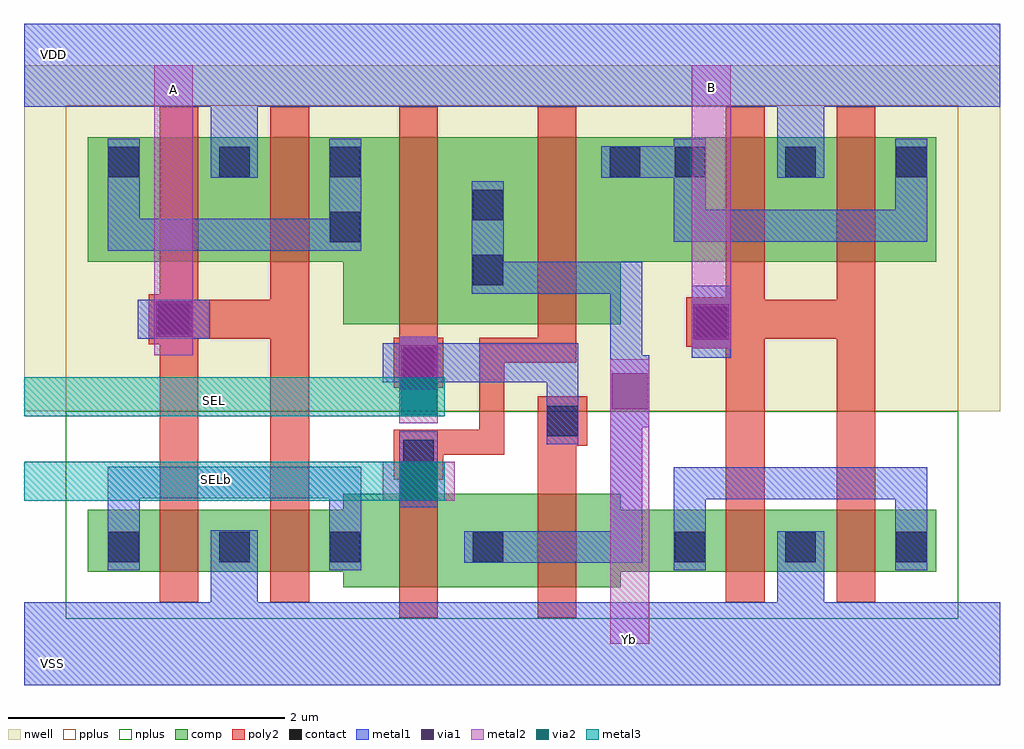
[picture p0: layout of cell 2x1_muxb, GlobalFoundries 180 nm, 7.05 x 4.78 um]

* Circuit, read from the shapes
.subckt 2x1_muxb A B SEL SELb VDD VSS Yb
XM1 VSS A n1 VSUBS nfet_03v3 w=0.45u l=0.28u m=2
XM2 Yb SELb n1 VSUBS nfet_03v3 w=0.675u l=0.28u
XM3 n2 SEL Yb VSUBS nfet_03v3 w=0.675u l=0.28u
XM4 VSS B n2 VSUBS nfet_03v3 w=0.45u l=0.28u m=2
XM5 VDD A n3 n4 pfet_03v3 w=0.9u l=0.28u m=2
XM6 Yb SEL n3 n4 pfet_03v3 w=1.35u l=0.28u
XM7 n5 SELb Yb n4 pfet_03v3 w=1.35u l=0.28u
XM8 VDD B n5 n4 pfet_03v3 w=0.9u l=0.28u m=2
.ends

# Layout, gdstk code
import gdstk
lib = gdstk.Library(unit=1e-6, precision=5e-09)
def R(c, l, rs):  # rectangles x0, y0, x1, y1
    for r in rs: c.add(gdstk.rectangle(r[:2], r[2:], *l))
def A(c, l, x, y, w, h, nx, ny, dx, dy):  # array of equal rectangles
    R(c, l, [(x+i*dx, y+j*dy, x+i*dx+w, y+j*dy+h) for i in range(nx) for j in range(ny)])
nwell = (21, 0)
comp = (22, 0)
poly2 = (30, 0)
pplus = (31, 0)
nplus = (32, 0)
contact = (33, 0)
metal1 = (34, 0)
via1 = (35, 0)
metal2 = (36, 0)
via2 = (38, 0)
metal3 = (42, 0)

c_2x1_muxb = lib.new_cell('2x1_muxb')
R(c_2x1_muxb, nwell, [(-5.465,-1.9,1.585,0.6)])
R(c_2x1_muxb, comp, [(-3.16,-3.17,-1.155,-2.495), (-5.005,-3.06,1.125,-2.61), (-3.16,-1.27,-1.155,0.08), (-5.005,-0.82,1.125,0.08)])
R(c_2x1_muxb, poly2, [(-2.755,-3.39,-2.475,-2.395), (-1.755,-3.39,-1.475,-2.15), (-4.485,-3.28,-4.205,0.3), (-3.685,-3.28,-3.405,0.3), (-0.395,-3.28,-0.115,0.3), (0.405,-3.28,0.685,0.3), (-2.795,-2.395,-2.435,-2.035), (-2.435,-2.215,-2.175,-2.035), (-2.175,-2.215,-1.995,-1.37), (-1.755,-2.15,-1.395,-1.79), (-2.795,-1.73,-2.435,-1.37), (-1.995,-1.55,-1.755,-1.37), (-1.755,-1.55,-1.475,0.3), (-0.68,-1.435,-0.32,-1.075), (-4.565,-1.415,-4.205,-1.055), (-4.205,-1.375,-3.685,-1.095), (-0.115,-1.375,0.405,-1.095), (-2.755,-1.37,-2.475,0.3)])
R(c_2x1_muxb, pplus, [(-5.165,-1.9,1.285,0.31)])
R(c_2x1_muxb, nplus, [(-5.165,-3.4,1.285,-1.9)])
A(c_2x1_muxb, contact, -4.855, -2.99, 0.22, 0.22, 3, 2, 0.8, 2.78)
A(c_2x1_muxb, contact, -0.765, -2.99, 0.22, 0.22, 3, 2, 0.8, 2.78)
R(c_2x1_muxb, contact, [(-2.225,-2.99,-2.005,-2.77), (-2.725,-2.325,-2.505,-2.105), (-1.685,-2.08,-1.465,-1.86), (-2.725,-1.66,-2.505,-1.44), (-0.61,-1.365,-0.39,-1.145), (-4.495,-1.345,-4.275,-1.125), (-2.225,-0.99,-2.005,-0.77), (-3.255,-0.68,-3.035,-0.46), (-2.225,-0.52,-2.005,-0.3), (-1.235,-0.21,-1.015,0.01)])
R(c_2x1_muxb, metal1, [(-5.465,-3.88,1.585,-3.28), (-4.115,-3.28,-3.775,-2.76), (-0.025,-3.28,0.315,-2.765), (-4.86,-3.05,-4.63,-2.53), (-3.26,-3.05,-3.03,-2.53), (-0.77,-3.05,-0.54,-2.535), (0.83,-3.05,1.06,-2.535), (-2.285,-2.995,-1,-2.765), (-1.23,-2.765,-1,-0.82), (-2.755,-2.595,-2.475,-2.045), (-0.77,-2.535,1.06,-2.305), (-4.86,-2.53,-3.03,-2.3), (-1.69,-2.14,-1.46,-1.69), (-1.23,-2.015,-0.95,-1.495), (-2.755,-1.74,-2.475,-1.36), (-2.875,-1.69,-1.46,-1.41), (-0.64,-1.515,-0.36,-0.995), (-4.645,-1.375,-4.125,-1.095), (-2.23,-1.05,-2,-0.24), (-2,-1.05,-1,-0.82), (-4.86,-0.74,-3.03,-0.51), (-0.77,-0.675,1.06,-0.445), (-4.86,-0.51,-4.63,0.07), (-3.26,-0.51,-3.03,0.07), (-0.77,-0.445,-0.54,0.07), (0.83,-0.445,1.06,0.07), (-4.115,-0.215,-3.775,0.3), (-1.295,-0.215,-0.77,0.015), (-0.025,-0.215,0.315,0.3), (-5.465,0.3,1.585,0.9)])
R(c_2x1_muxb, via1, [(-2.745,-2.535,-2.485,-2.275), (-1.22,-1.885,-0.96,-1.625), (-2.745,-1.68,-2.485,-1.42), (-0.63,-1.385,-0.37,-1.125), (-4.515,-1.365,-4.255,-1.105)])
R(c_2x1_muxb, metal2, [(-1.23,-3.58,-0.95,-1.525), (-2.875,-2.545,-2.355,-2.265), (-2.755,-1.985,-2.475,-1.36), (-4.525,-1.495,-4.245,0.6), (-0.64,-1.445,-0.36,0.6)])
R(c_2x1_muxb, via2, [(-2.745,-2.535,-2.485,-2.275), (-2.745,-1.925,-2.485,-1.665)])
R(c_2x1_muxb, metal3, [(-5.465,-2.545,-2.425,-2.265), (-5.465,-1.935,-2.425,-1.655)])
c_2x1_muxb.add(gdstk.Label('SEL', (-4.09,-1.825), layer=42, texttype=10))
c_2x1_muxb.add(gdstk.Label('SELb', (-4.075,-2.39), layer=42, texttype=10))
c_2x1_muxb.add(gdstk.Label('B', (-0.5,0.44), layer=36, texttype=10))
c_2x1_muxb.add(gdstk.Label('A', (-4.385,0.425), layer=36, texttype=10))
c_2x1_muxb.add(gdstk.Label('Yb', (-1.09,-3.55), layer=36, texttype=10))
c_2x1_muxb.add(gdstk.Label('VDD', (-5.25,0.675), layer=34, texttype=10))
c_2x1_muxb.add(gdstk.Label('VSS', (-5.26,-3.725), layer=34, texttype=10))

lib.write_gds('2x1_muxb.gds')
